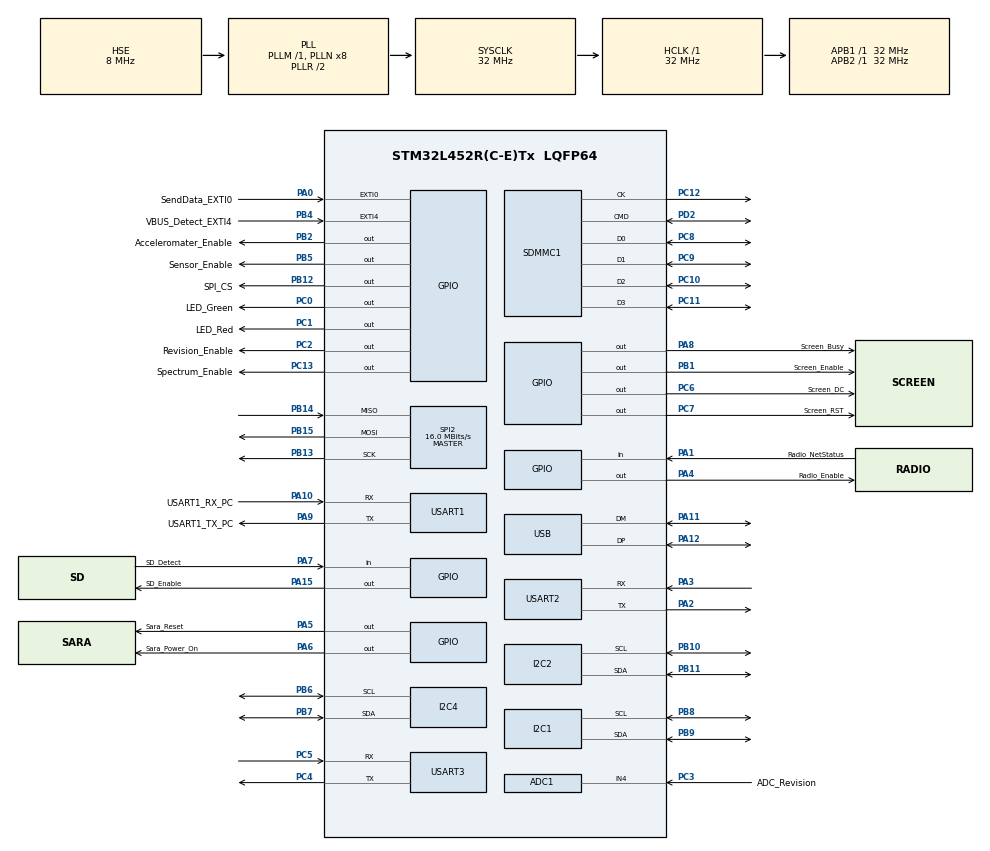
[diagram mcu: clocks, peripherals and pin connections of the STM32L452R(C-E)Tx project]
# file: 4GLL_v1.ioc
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ADC1.Channel-0\#ChannelRegularConversion=ADC_CHANNEL_4
ADC1.NbrOfConversionFlag=1
ADC1.OffsetNumber-0\#ChannelRegularConversion=ADC_OFFSET_NONE
ADC1.Rank-0\#ChannelRegularConversion=1
ADC1.SamplingTime-0\#ChannelRegularConversion=ADC_SAMPLETIME_2CYCLES_5
ADC1.master=1
FATFS.BSP.number=1
FATFS0.BSP.STBoard=false
FATFS0.BSP.api=Unknown
FATFS0.BSP.i2caddr=0
FATFS0.BSP.instance=PA7
FATFS0.BSP.ip=GPIO
FATFS0.BSP.mode=Input
FATFS0.BSP.name=Detect_SDIO
FATFS0.BSP.solution=PA7
I2C1.Timing=0x00707CBB
I2C2.Timing=0x00707CBB
I2C4.Timing=0x00707CBB
Mcu.Family=STM32L4
Mcu.Name=STM32L452R(C-E)Tx
Mcu.Package=LQFP64
NVIC.EXTI0_IRQn=true\:0\:0\:false\:false\:true\:true\:true
NVIC.EXTI4_IRQn=true\:0\:0\:false\:false\:true\:true\:true
NVIC.PriorityGroup=NVIC_PRIORITYGROUP_4
NVIC.USART1_IRQn=true\:0\:0\:false\:false\:true\:true\:true
NVIC.USART2_IRQn=true\:0\:0\:false\:false\:true\:true\:true
NVIC.USB_IRQn=true\:0\:0\:false\:false\:true\:true\:true
PA0.GPIO_Label=SendData_EXTI0
PA0.GPIO_ModeDefaultEXTI=GPIO_MODE_IT_FALLING
PA0.Signal=GPXTI0
PA1.GPIO_Label=Radio_NetStatus
PA1.Signal=GPIO_Input
PA10.GPIO_Label=USART1_RX_PC
PA10.Mode=Asynchronous
PA10.Signal=USART1_RX
PA11.Mode=Device
PA11.Signal=USB_DM
PA12.Mode=Device
PA12.Signal=USB_DP
PA13\ (JTMS/SWDIO).Mode=Trace_Asynchronous_SW
PA13\ (JTMS/SWDIO).Signal=SYS_JTMS-SWDIO
PA14\ (JTCK/SWCLK).Mode=Trace_Asynchronous_SW
PA14\ (JTCK/SWCLK).Signal=SYS_JTCK-SWCLK
PA15\ (JTDI).GPIO_Label=SD_Enable
PA15\ (JTDI).Signal=GPIO_Output
PA2.Mode=Asynchronous
PA2.Signal=USART2_TX
PA3.Mode=Asynchronous
PA3.Signal=USART2_RX
PA4.GPIO_Label=Radio_Enable
PA4.Signal=GPIO_Output
PA5.GPIO_Label=Sara_Reset
PA5.Signal=GPIO_Output
PA6.GPIO_Label=Sara_Power_On
PA6.Signal=GPIO_Output
PA7.GPIO_Label=SD_Detect
PA7.Signal=GPIO_Input
PA8.GPIO_Label=Screen_Busy
PA8.Signal=GPIO_Output
PA9.GPIO_Label=USART1_TX_PC
PA9.Mode=Asynchronous
PA9.Signal=USART1_TX
PB1.GPIO_Label=Screen_Enable
PB1.Signal=GPIO_Output
PB10.Mode=I2C
PB10.Signal=I2C2_SCL
PB11.Mode=I2C
PB11.Signal=I2C2_SDA
PB12.GPIO_Label=SPI_CS
PB12.Signal=GPIO_Output
PB13.Mode=Full_Duplex_Master
PB13.Signal=SPI2_SCK
PB14.Mode=Full_Duplex_Master
PB14.Signal=SPI2_MISO
PB15.Mode=Full_Duplex_Master
PB15.Signal=SPI2_MOSI
PB2.GPIO_Label=Acceleromater_Enable
PB2.Signal=GPIO_Output
PB3\ (JTDO/TRACESWO).Mode=Trace_Asynchronous_SW
PB3\ (JTDO/TRACESWO).Signal=SYS_JTDO-SWO
PB4\ (NJTRST).GPIO_Label=VBUS_Detect_EXTI4
PB4\ (NJTRST).Signal=GPXTI4
PB5.GPIO_Label=Sensor_Enable
PB5.Signal=GPIO_Output
PB6.Mode=I2C
PB6.Signal=I2C4_SCL
PB7.Mode=I2C
PB7.Signal=I2C4_SDA
PB8.Mode=I2C
PB8.Signal=I2C1_SCL
PB9.Mode=I2C
PB9.Signal=I2C1_SDA
PC0.GPIO_Label=LED_Green
PC0.Signal=GPIO_Output
PC1.GPIO_Label=LED_Red
PC1.Signal=GPIO_Output
PC10.Mode=SD_4_bits_Wide_bus
PC10.Signal=SDMMC1_D2
PC11.Mode=SD_4_bits_Wide_bus
PC11.Signal=SDMMC1_D3
PC12.Mode=SD_4_bits_Wide_bus
PC12.Signal=SDMMC1_CK
PC13.GPIO_Label=Spectrum_Enable
PC13.Signal=GPIO_Output
PC14-OSC32_IN\ (PC14).Mode=LSE-External-Oscillator
PC14-OSC32_IN\ (PC14).Signal=RCC_OSC32_IN
PC15-OSC32_OUT\ (PC15).Mode=LSE-External-Oscillator
PC15-OSC32_OUT\ (PC15).Signal=RCC_OSC32_OUT
PC2.GPIO_Label=Revision_Enable
PC2.Signal=GPIO_Output
PC3.GPIO_Label=ADC_Revision
PC3.Signal=ADCx_IN4
PC4.Mode=Asynchronous
PC4.Signal=USART3_TX
PC5.Mode=Asynchronous
PC5.Signal=USART3_RX
PC6.GPIO_Label=Screen_DC
PC6.Signal=GPIO_Output
PC7.GPIO_Label=Screen_RST
PC7.Signal=GPIO_Output
PC8.Mode=SD_4_bits_Wide_bus
PC8.Signal=SDMMC1_D0
PC9.Mode=SD_4_bits_Wide_bus
PC9.Signal=SDMMC1_D1
PD2.Mode=SD_4_bits_Wide_bus
PD2.Signal=SDMMC1_CMD
PH0-OSC_IN\ (PH0).Mode=HSE-External-Oscillator
PH0-OSC_IN\ (PH0).Signal=RCC_OSC_IN
PH1-OSC_OUT\ (PH1).Mode=HSE-External-Oscillator
PH1-OSC_OUT\ (PH1).Signal=RCC_OSC_OUT
ProjectManager.HeapSize=0x200
ProjectManager.StackSize=0x400
ProjectManager.TargetToolchain=STM32CubeIDE
RCC.ADCFreq_Value=48000000
RCC.AHBFreq_Value=32000000
RCC.APB1Freq_Value=32000000
RCC.APB1TimFreq_Value=32000000
RCC.APB2Freq_Value=32000000
RCC.APB2TimFreq_Value=32000000
RCC.CortexFreq_Value=32000000
RCC.HCLKFreq_Value=32000000
RCC.HSE_VALUE=8000000
RCC.HSI48_VALUE=48000000
RCC.HSI_VALUE=16000000
RCC.MSI_VALUE=4000000
RCC.PLLSAI1N=12
RCC.PLLSourceVirtual=RCC_PLLSOURCE_HSE
RCC.RTCClockSelection=RCC_RTCCLKSOURCE_LSE
RCC.SYSCLKFreq_VALUE=32000000
RCC.SYSCLKSource=RCC_SYSCLKSOURCE_PLLCLK
RCC.USBFreq_Value=48000000
RCC.VCOOutputFreq_Value=64000000
RTC.Alarm-Alarm\ A=RTC_ALARM_A
RTC.Alarm_B-Alarm\ B=RTC_ALARM_B
SH.ADCx_IN4.0=ADC1_IN4,IN4-Single-Ended
SPI2.CalculateBaudRate=16.0 MBits/s
SPI2.DataSize=SPI_DATASIZE_8BIT
SPI2.Direction=SPI_DIRECTION_2LINES
SPI2.Mode=SPI_MODE_MASTER
SPI2.VirtualType=VM_MASTER
TIM2.Channel-Output\ Compare1\ No\ Output=TIM_CHANNEL_1
USART1.VirtualMode-Asynchronous=VM_ASYNC
USART2.VirtualMode-Asynchronous=VM_ASYNC
USART3.VirtualMode-Asynchronous=VM_ASYNC
USB_DEVICE.CLASS_NAME_FS=HID
USB_DEVICE.VirtualMode=Hid
USB_DEVICE.VirtualModeFS=Hid_FS
VP_CRC_VS_CRC.Mode=CRC_Activate
VP_FATFS_VS_SDIO.Mode=SDIO
VP_IWDG_VS_IWDG.Mode=IWDG_Activate
VP_LPTIM2_VS_LPTIM_counterModeInternalClock.Mode=Counts__internal_clock_event_00
VP_RNG_VS_RNG.Mode=RNG_Activate
VP_RTC_VS_RTC_Activate.Mode=RTC_Enabled
VP_RTC_VS_RTC_Alarm_A_Intern.Mode=Alarm A
VP_RTC_VS_RTC_Alarm_B_Intern.Mode=Alarm B
VP_RTC_VS_RTC_Calendar.Mode=RTC_Calendar
VP_TIM2_VS_ClockSourceINT.Mode=Internal
VP_TIM2_VS_no_output1.Mode=Output Compare1 No Output
VP_USB_DEVICE_VS_USB_DEVICE_HID_FS.Mode=HID_FS
board=custom

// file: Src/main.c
/* USER CODE BEGIN Header */
/**
  ******************************************************************************
  * @file           : main.c
  * @brief          : Main program body
  ******************************************************************************
  * @attention
  *
  * <h2><center>&copy; Copyright (c) 2021 STMicroelectronics.
  * All rights reserved.</center></h2>
  *
  * This software component is licensed by ST under Ultimate Liberty license
  * SLA0044, the "License"; You may not use this file except in compliance with
  * the License. You may obtain a copy of the License at:
  *                             www.st.com/SLA0044
  *
  ******************************************************************************
  */
/* USER CODE END Header */
#include "main.h"
#include "adc.h"
#include "crc.h"
#include "fatfs.h"
#include "i2c.h"
#include "iwdg.h"
#include "lptim.h"
#include "rng.h"
#include "rtc.h"
#include "sdmmc.h"
#include "spi.h"
#include "tim.h"
#include "usart.h"
#include "usb_device.h"
#include "gpio.h"

/* USER CODE BEGIN Includes */
#include "__ExegerGeneric.h"
#include <_LowLevel.h>
#include "_Time.h"
#include "_RevisionControl.h"
#include "_SaraR.h"
/* USER CODE END Includes */

void SystemClock_Config(void);

int main(void)
{

  /* MCU Configuration--------------------------------------------------------*/

  /* Reset of all peripherals, Initializes the Flash interface and the Systick. */
  HAL_Init();

  /* Configure the system clock */
  SystemClock_Config();

  /* Initialize all configured peripherals */
  MX_GPIO_Init();
  MX_CRC_Init();
  //MX_IWDG_Init();
  MX_SPI2_Init();
  MX_USART1_UART_Init();
  MX_USART2_UART_Init();
  MX_USART3_UART_Init();
  MX_ADC1_Init();
  MX_I2C1_Init();
  MX_I2C2_Init();
  MX_I2C4_Init();
  MX_RTC_Init();
  MX_SDMMC1_SD_Init();
  MX_FATFS_Init();
  MX_LPTIM2_Init();
  MX_TIM2_Init();
  MX_USB_DEVICE_Init();
  MX_RNG_Init();
  /* USER CODE BEGIN 2 */
//  Time_RTCGetDateTime();
//  Time_RTCSetDateTime(21, 2, 2, 12, 1, 2);
//  Time_RTCGetDateTime();

  /*
   * Before main:
   *
   *  - Check reset cause	x
   *  - Check Revision		x
   *  - Check status of all peripherals (ID of everyone)
   *  -
   *
   *
   *
   * */

  uint8_t ResetCause = CheckResetCause();
  TRACE("[ResetCheck] - PASSED\r\n");

  LL_USART_ClearFlag_ORE(USART2);
  LL_USART_EnableIT_RXNE(USART2);

//  while(RevisionControl_GetState() != REVISIONSTATE_DONE &&
//		  RevisionControl_GetState() != REVISIONSTATE_ERROR)
//  {
//	  RevisionControl_StateMachine();
//  }

  /* DISPLAY ALL INIT */

  TRACE("[Main] - Entering While-loop\r\n");
  DualLed_GreenOff();
  DualLed_RedOff();

  StartUpSara() ? DualLed_BlinkGreen(11) : DualLed_BlinkRed(21);

  HAL_Delay(1000);
  SaraInitAtCommands() ? DualLed_BlinkGreen(11) : DualLed_BlinkRed(21);

  HAL_Delay(1000);

  SaraCheckCommand("AT+GMR\r\n", "+CEREG: 0,1OK.....................................................", LOW_TIMEOUT);
  SaraCheckCommand("AT+CGDCONT?\r\n", "+CEREG: 0,1OK.....................................................", LOW_TIMEOUT);
  HAL_Delay(10000);
//  SaraCheckCommand("AT+COPS=0\r\n", "OK", LOW_TIMEOUT);
//  SaraCheckCommand("AT+URAT=7,8\r\n", "OK", LOW_TIMEOUT);

 // SaraCheckCommand("AT+CFUN?\r\n", "+CFUN: 1OK", LOW_TIMEOUT) ? DualLed_BlinkGreen(11) : DualLed_BlinkRed(21);
  //HAL_Delay(1000);
 // SaraCheckCommand("AT+CEREG=1\r\n", "OK", LOW_TIMEOUT) ? DualLed_BlinkGreen(11) : DualLed_BlinkRed(21);
//  HAL_GPIO_WritePin(Radio_Enable_GPIO_Port, Radio_Enable_Pin, GPIO_PIN_SET);

//  HAL_GPIO_WritePin(Sara_Reset_GPIO_Port, Sara_Reset_Pin, GPIO_PIN_SET);
//  HAL_GPIO_WritePin(Sara_Power_On_GPIO_Port, Sara_Power_On_Pin, GPIO_PIN_SET);

  /* USER CODE END 2 */

  /* Infinite loop */
  while (1)
  {

    /* USER CODE BEGIN 3 */

	  if(SaraCheckCommand("AT+CEREG?\r\n", "+CEREG: 0,1OK", LOW_TIMEOUT))
	  {
		  DualLed_ToggleGreen() ;
	  }
	  else
	  {
		  DualLed_ToggleRed();
	  }
//	  HAL_Delay(300);
//	  DualLed_ToggleGreen();

	  /* TODO:
	   *
	   * Order BOM of 4GLL
	   * 	Farnell/digikey order x (no sara)
	   *
	   * Test generate random number		x
	   *
	   * Basic functions for MCU
	   * 	Generate CRC on data
	   * 	LED - Use for debugging
	   * 	Button - IRQ
	   * 	RTC alarm
	   * 	Low power solution
	   * 	ADC for revision control 		x
	   * 	USB communication - HID?
	   * 	SD-card read/write				x
	   * 	Redefine printf function with define
	   * 	Window circuit for the LED
	   * 	SPI communication
	   * 	GPIOs
	   * 	Sleep with different IOs
	   * 	Implement returnCodes for all error states
	   *
	   *
	   * States
	   * 	States of all actions
	   * 		Have peripherals as states?
	   *
	   * Basic functions for peripherals
	   * 	Code for TMP112	(OOP)		x
	   * 	Code for HDC1080 (OOP)		x
	   * 	Code for OPT (OOP)
	   * 	Code for Spectrum sensor (OOP)
	   * 	Code for Accelerometer (OOP)
	   *	ID of each peripheral
	   *	Rewrite all code
	   *	Test Screen functionality
	   *	Comment for readability
	   *
	   * Structure the UARTs for input from comp + Sara with IRQ
	   * 	Arrays for each UART to store data
	   * 	Read arrays when \r / \n received
	   * 	Write test scenarios for Computer communication
	   *
	   * Structure the output data sent
	   * 	How am I going to send the data?
	   *
	   * Structure startup sequence
	   * 	Startup-cause
	   *
	   */

	  /* Add State machine for sensors and radio/GPS */

//	  uint32_t rngN = GenerateRandomNumber();
//	  printf("%lu\r\n", rngN);
//	  TRACE("%lu\r\n", rngN);

	  //TRACE("_________\r\n");

//	  printf("This is a test printf\r\n");
//
//	  debugPrint("Testing DebugPrint - Print", debugLevel_Print);
//	  debugPrint("Testing DebugPrint - Info", debugLevel_Info);
//	  debugPrint("Testing DebugPrint - Warning", debugLevel_Warning);
//	  debugPrint("Testing DebugPrint - Error", debugLevel_Error);

	  HAL_Delay(500);
  }
  /* USER CODE END 3 */
}

void SystemClock_Config(void)
{
  RCC_OscInitTypeDef RCC_OscInitStruct = {0};
  RCC_ClkInitTypeDef RCC_ClkInitStruct = {0};
  RCC_PeriphCLKInitTypeDef PeriphClkInit = {0};

  /** Configure LSE Drive Capability
  */
  HAL_PWR_EnableBkUpAccess();
  __HAL_RCC_LSEDRIVE_CONFIG(RCC_LSEDRIVE_LOW);
  /** Initializes the RCC Oscillators according to the specified parameters
  * in the RCC_OscInitTypeDef structure.
  */
  RCC_OscInitStruct.OscillatorType = RCC_OSCILLATORTYPE_LSI|RCC_OSCILLATORTYPE_HSE
                              |RCC_OSCILLATORTYPE_LSE;
  RCC_OscInitStruct.HSEState = RCC_HSE_ON;
  RCC_OscInitStruct.LSEState = RCC_LSE_ON;
  RCC_OscInitStruct.LSIState = RCC_LSI_ON;
  RCC_OscInitStruct.PLL.PLLState = RCC_PLL_ON;
  RCC_OscInitStruct.PLL.PLLSource = RCC_PLLSOURCE_HSE;
  RCC_OscInitStruct.PLL.PLLM = 1;
  RCC_OscInitStruct.PLL.PLLN = 8;
  RCC_OscInitStruct.PLL.PLLP = RCC_PLLP_DIV7;
  RCC_OscInitStruct.PLL.PLLQ = RCC_PLLQ_DIV2;
  RCC_OscInitStruct.PLL.PLLR = RCC_PLLR_DIV2;
  if (HAL_RCC_OscConfig(&RCC_OscInitStruct) != HAL_OK)
  {
    Error_Handler();
  }
  /** Initializes the CPU, AHB and APB buses clocks
  */
  RCC_ClkInitStruct.ClockType = RCC_CLOCKTYPE_HCLK|RCC_CLOCKTYPE_SYSCLK
                              |RCC_CLOCKTYPE_PCLK1|RCC_CLOCKTYPE_PCLK2;
  RCC_ClkInitStruct.SYSCLKSource = RCC_SYSCLKSOURCE_PLLCLK;
  RCC_ClkInitStruct.AHBCLKDivider = RCC_SYSCLK_DIV1;
  RCC_ClkInitStruct.APB1CLKDivider = RCC_HCLK_DIV1;
  RCC_ClkInitStruct.APB2CLKDivider = RCC_HCLK_DIV1;

  if (HAL_RCC_ClockConfig(&RCC_ClkInitStruct, FLASH_LATENCY_1) != HAL_OK)
  {
    Error_Handler();
  }
  PeriphClkInit.PeriphClockSelection = RCC_PERIPHCLK_RTC|RCC_PERIPHCLK_USART1
                              |RCC_PERIPHCLK_USART2|RCC_PERIPHCLK_USART3
                              |RCC_PERIPHCLK_LPTIM2|RCC_PERIPHCLK_I2C1
                              |RCC_PERIPHCLK_I2C2|RCC_PERIPHCLK_I2C4
                              |RCC_PERIPHCLK_USB|RCC_PERIPHCLK_SDMMC1
                              |RCC_PERIPHCLK_RNG|RCC_PERIPHCLK_ADC;
  PeriphClkInit.Usart1ClockSelection = RCC_USART1CLKSOURCE_PCLK2;
  PeriphClkInit.Usart2ClockSelection = RCC_USART2CLKSOURCE_PCLK1;
  PeriphClkInit.Usart3ClockSelection = RCC_USART3CLKSOURCE_PCLK1;
  PeriphClkInit.I2c1ClockSelection = RCC_I2C1CLKSOURCE_PCLK1;
  PeriphClkInit.I2c2ClockSelection = RCC_I2C2CLKSOURCE_PCLK1;
  PeriphClkInit.I2c4ClockSelection = RCC_I2C4CLKSOURCE_PCLK1;
  PeriphClkInit.Lptim2ClockSelection = RCC_LPTIM2CLKSOURCE_PCLK;
  PeriphClkInit.AdcClockSelection = RCC_ADCCLKSOURCE_PLLSAI1;
  PeriphClkInit.RTCClockSelection = RCC_RTCCLKSOURCE_LSE;
  PeriphClkInit.UsbClockSelection = RCC_USBCLKSOURCE_PLLSAI1;
  PeriphClkInit.RngClockSelection = RCC_RNGCLKSOURCE_PLLSAI1;
  PeriphClkInit.Sdmmc1ClockSelection = RCC_SDMMC1CLKSOURCE_PLLSAI1;
  PeriphClkInit.PLLSAI1.PLLSAI1Source = RCC_PLLSOURCE_HSE;
  PeriphClkInit.PLLSAI1.PLLSAI1M = 1;
  PeriphClkInit.PLLSAI1.PLLSAI1N = 12;
  PeriphClkInit.PLLSAI1.PLLSAI1P = RCC_PLLP_DIV7;
  PeriphClkInit.PLLSAI1.PLLSAI1Q = RCC_PLLQ_DIV2;
  PeriphClkInit.PLLSAI1.PLLSAI1R = RCC_PLLR_DIV2;
  PeriphClkInit.PLLSAI1.PLLSAI1ClockOut = RCC_PLLSAI1_48M2CLK|RCC_PLLSAI1_ADC1CLK;
  if (HAL_RCCEx_PeriphCLKConfig(&PeriphClkInit) != HAL_OK)
  {
    Error_Handler();
  }
  /** Configure the main internal regulator output voltage
  */
  if (HAL_PWREx_ControlVoltageScaling(PWR_REGULATOR_VOLTAGE_SCALE1) != HAL_OK)
  {
    Error_Handler();
  }
}

void Error_Handler(void)
{
}

/************************ (C) COPYRIGHT STMicroelectronics *****END OF FILE****/
